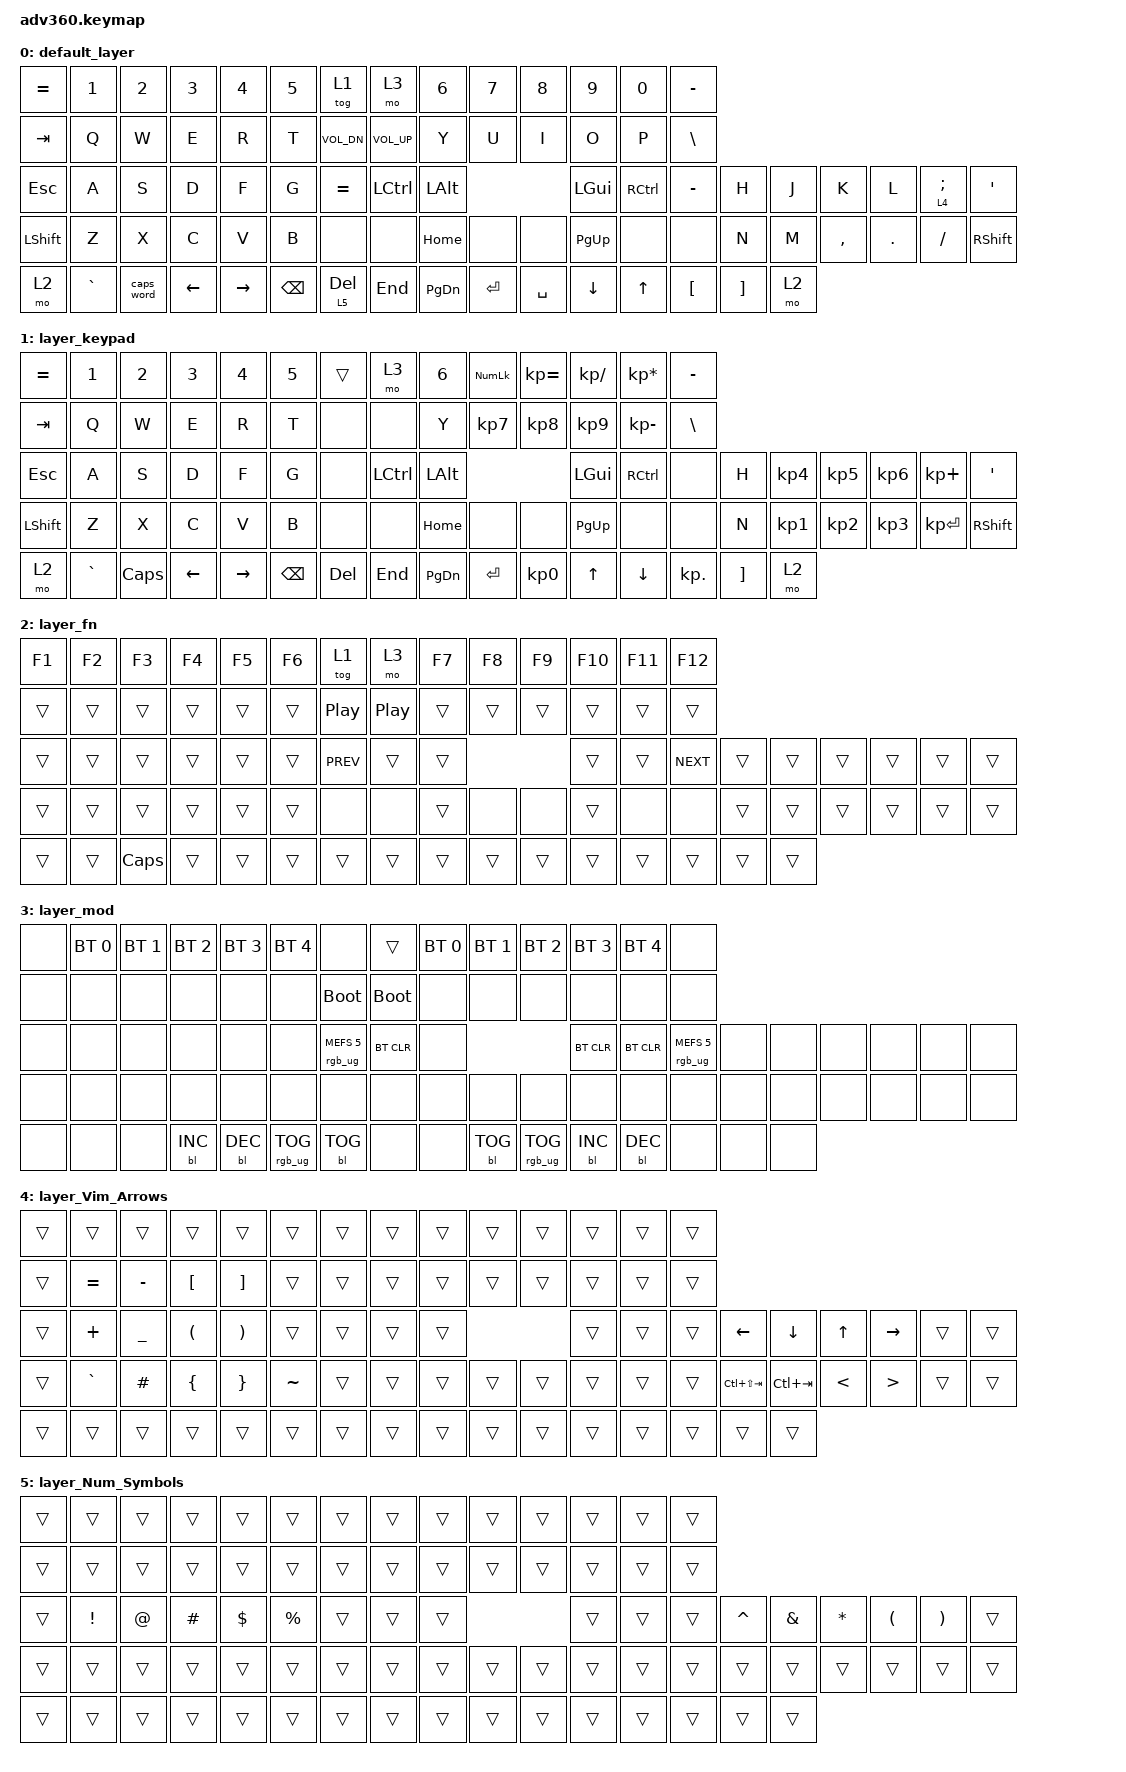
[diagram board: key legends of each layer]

/*
 * Copyright (c) 2020 The ZMK Contributors
 *
 * SPDX-License-Identifier: MIT
 */


/* THIS FILE WAS GENERATED!
 *
 * This file was generated automatically. You may or may not want to
 * edit it directly.
 */

#include <behaviors.dtsi>
#include <dt-bindings/zmk/keys.h>
#include <dt-bindings/zmk/bt.h>
#include <dt-bindings/zmk/rgb.h>
#include <dt-bindings/zmk/backlight.h>

/ {
  behaviors {
    #include "macros.dtsi"

    hm: homerow_mods {
        compatible = "zmk,behavior-hold-tap";
        label = "HOMEROW_MODS";
        #binding-cells = <2>;
        tapping-term-ms = <200>;
        quick_tap_ms = <175>;
        flavor = "tap-preferred";
        bindings = <&kp>, <&kp>;
    };

    brac_mo: brackets_layer_mo_tog {
        compatible = "zmk,behavior-hold-tap";
        label = "brac_mo";
        #binding-cells = <2>;
        tapping-term-ms = <200>;
        quick_tap_ms = <175>;
        flavor = "hold-preferred";
        bindings = <&mo>, <&kp>;
    };
  };

    keymap {
        compatible = "zmk,keymap";


        default_layer {
            bindings = <
 &kp EQUAL     &kp N1    &kp N2    &kp N3     &kp N4    &kp N5                  &tog 1            &mo 3     &kp N6     &kp N7     &kp N8     &kp N9     &kp N0  &kp MINUS
   &kp TAB      &kp Q     &kp W     &kp E      &kp R     &kp T            &kp C_VOL_DN  &kp C_VOLUME_UP      &kp Y      &kp U      &kp I      &kp O      &kp P   &kp BSLH
   &kp ESC      &kp A     &kp S     &kp D      &kp F     &kp G               &kp EQUAL        &kp LCTRL   &kp LALT                         &kp LGUI  &kp RCTRL  &kp MINUS     &kp H   &kp J      &kp K    &kp L  &brac_mo 4 SEMI    &kp SQT
 &kp LSHFT      &kp Z     &kp X     &kp C      &kp V     &kp B                   &none            &none   &kp HOME      &none      &none  &kp PG_UP      &none      &none     &kp N   &kp M  &kp COMMA  &kp DOT    &kp FSLH  &kp RSHFT
     &mo 2  &kp GRAVE  &caps_word  &kp LEFT  &kp RIGHT  &kp BSPC                 &brac_mo 5 DEL          &kp END  &kp PG_DN  &kp ENTER  &kp SPACE   &kp DOWN     &kp UP   &kp LBKT  &kp RBKT   &mo 2
            >;
        };

        layer_keypad {
            bindings = <
 &kp EQUAL     &kp N1    &kp N2    &kp N3     &kp N4    &kp N5             &trans      &mo 3     &kp N6  &kp KP_NUM  &kp KP_EQUAL  &kp KP_DIVIDE  &kp KP_MULTIPLY   &kp MINUS
   &kp TAB      &kp Q     &kp W     &kp E      &kp R     &kp T              &none      &none      &kp Y   &kp KP_N7     &kp KP_N8      &kp KP_N9     &kp KP_MINUS    &kp BSLH
   &kp ESC      &kp A     &kp S     &kp D      &kp F     &kp G              &none  &kp LCTRL   &kp LALT                                 &kp LGUI        &kp RCTRL       &none     &kp H  &kp KP_N4  &kp KP_N5  &kp KP_N6   &kp KP_PLUS    &kp SQT
 &kp LSHFT      &kp Z     &kp X     &kp C      &kp V     &kp B              &none      &none   &kp HOME       &none         &none      &kp PG_UP            &none       &none     &kp N  &kp KP_N1  &kp KP_N2  &kp KP_N3  &kp KP_ENTER  &kp RSHFT
     &mo 2  &kp GRAVE  &kp CAPS  &kp LEFT  &kp RIGHT  &kp BSPC            &kp DEL    &kp END  &kp PG_DN   &kp ENTER     &kp KP_N0         &kp UP         &kp DOWN  &kp KP_DOT  &kp RBKT      &mo 2
            >;
        };

        layer_fn {
            bindings = <
 &kp F1  &kp F2  &kp F3  &kp F4  &kp F5  &kp F6                &tog 1     &mo 3  &kp F7  &kp F8  &kp F9  &kp F10  &kp F11     &kp F12
 &trans  &trans  &trans  &trans  &trans  &trans              &kp C_PP  &kp C_PP  &trans  &trans  &trans   &trans   &trans      &trans
 &trans  &trans  &trans  &trans  &trans  &trans            &kp C_PREV    &trans  &trans                   &trans   &trans  &kp C_NEXT  &trans  &trans  &trans  &trans  &trans  &trans
 &trans  &trans  &trans  &trans  &trans  &trans                 &none     &none  &trans   &none   &none   &trans    &none       &none  &trans  &trans  &trans  &trans  &trans  &trans
 &trans  &trans  &kp CAPS  &trans  &trans  &trans                &trans    &trans  &trans  &trans  &trans   &trans   &trans      &trans  &trans  &trans
            >;
        };

        layer_mod {
            bindings = <
  &none  &bt BT_SEL 0  &bt BT_SEL 1  &bt BT_SEL 2  &bt BT_SEL 3     &bt BT_SEL 4                             &none       &trans  &bt BT_SEL 0  &bt BT_SEL 1     &bt BT_SEL 2  &bt BT_SEL 3  &bt BT_SEL 4                   &none
  &none         &none         &none         &none         &none            &none                       &bootloader  &bootloader         &none         &none            &none         &none         &none                   &none
  &none         &none         &none         &none         &none            &none            &rgb_ug RGB_MEFS_CMD 5   &bt BT_CLR         &none                                   &bt BT_CLR    &bt BT_CLR  &rgb_ug RGB_MEFS_CMD 5   &none   &none   &none   &none   &none   &none
  &none         &none         &none         &none         &none            &none                             &none        &none         &none         &none            &none         &none         &none                   &none   &none   &none   &none   &none   &none   &none
  &none         &none         &none    &bl BL_INC    &bl BL_DEC  &rgb_ug RGB_TOG                        &bl BL_TOG        &none         &none    &bl BL_TOG  &rgb_ug RGB_TOG    &bl BL_INC    &bl BL_DEC                   &none   &none   &none
            >;
        };

        layer_Vim_Arrows {
            bindings = <
 &trans  &trans  &trans                &trans                 &trans  &trans            &trans  &trans  &trans  &trans  &trans  &trans  &trans  &trans
 &trans  &kp EQUAL  &kp MINUS      &kp LEFT_BRACKET      &kp RIGHT_BRACKET  &trans            &trans  &trans  &trans  &trans  &trans  &trans  &trans  &trans
 &trans  &kp PLUS  &kp UNDERSCORE  &kp LEFT_PARENTHESIS  &kp RIGHT_PARENTHESIS  &trans            &trans  &trans  &trans                  &trans  &trans  &trans  &kp LEFT  &kp DOWN  &kp UP  &kp RIGHT  &trans  &trans
 &trans  &kp GRAVE  &kp HASH        &kp LEFT_BRACE        &kp RIGHT_BRACE  &kp TILDE            &trans  &trans  &trans  &trans  &trans  &trans  &trans  &trans    &kp LC(LS(TAB))    &kp LC(TAB)  &kp LESS_THAN     &kp GREATER_THAN  &trans  &trans
 &trans  &trans  &trans                &trans                 &trans  &trans            &trans  &trans  &trans  &trans  &trans  &trans  &trans  &trans    &trans    &trans
            >;
        };

        layer_Num_Symbols {
            bindings = <
 &trans           &trans  &trans    &trans      &trans       &trans            &trans  &trans     &trans        &trans        &trans                &trans                 &trans  &trans
 &trans  &trans           &trans  &trans        &trans       &trans            &trans  &trans     &trans        &trans         &trans                &trans                 &trans  &trans
 &trans  &kp EXCLAMATION  &kp AT  &kp HASH      &kp DOLLAR   &kp PERCENT       &trans  &trans     &trans        &trans         &trans    &trans  &kp CARET     &kp AMPERSAND  &kp ASTERISK          &kp LEFT_PARENTHESIS   &kp RIGHT_PARENTHESIS  &trans
 &trans           &trans  &trans    &trans      &trans       &trans            &trans  &trans     &trans        &trans        &trans                &trans                 &trans  &trans  &trans  &trans  &trans  &trans  &trans  &trans
 &trans           &trans  &trans    &trans      &trans       &trans            &trans  &trans     &trans        &trans        &trans                &trans                 &trans  &trans  &trans  &trans
            >;
        };

    };
};
